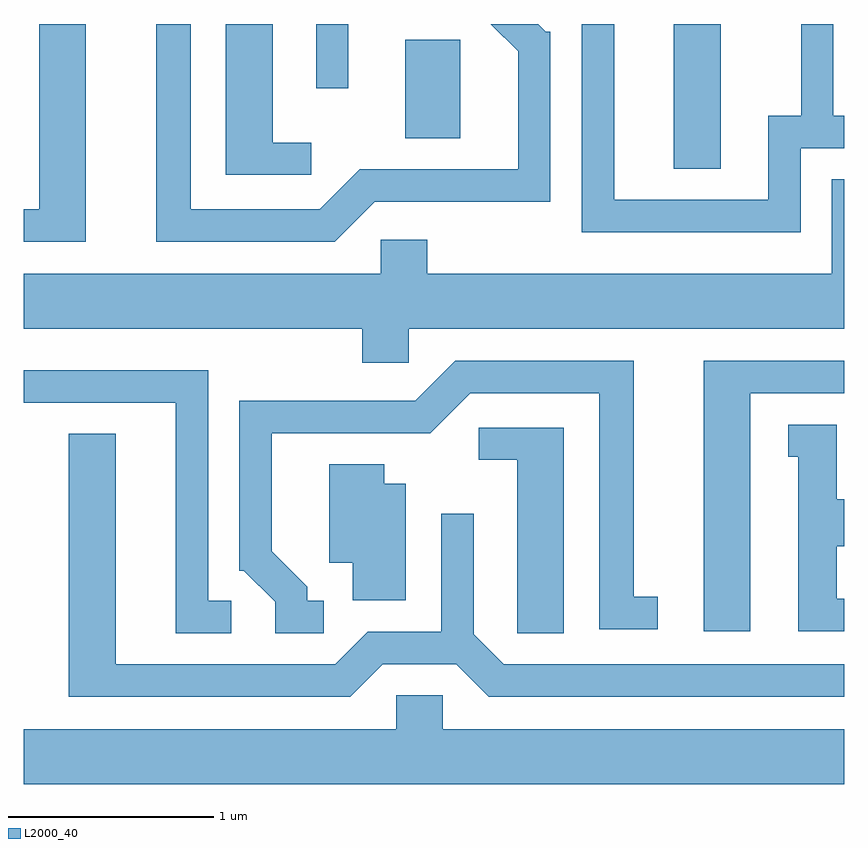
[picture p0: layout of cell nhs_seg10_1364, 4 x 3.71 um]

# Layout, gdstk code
import gdstk
lib = gdstk.Library(unit=1e-6, precision=1e-09)
def R(c, l, rs):  # rectangles x0, y0, x1, y1
    for r in rs: c.add(gdstk.rectangle(r[:2], r[2:], *l))
def P(c, l, *ps):  # polygons
    for p in ps: c.add(gdstk.Polygon(p, *l))
L2000_40 = (2000, 40)

nhs_seg10_1364 = lib.new_cell('nhs_seg10_1364')
R(nhs_seg10_1364, L2000_40, [(228.781,2105.816,229.009,2106.522), (227.471,2105.966,227.739,2106.444), (227.036,2106.208,227.194,2106.522)])
P(nhs_seg10_1364, L2000_40, [(225.914,2106.522),(225.686,2106.522),(225.686,2105.619),(225.611,2105.619),(225.611,2105.461),(225.914,2105.461)],
  [(229.399,2105.916),(229.611,2105.916),(229.611,2106.074),(229.559,2106.074),(229.559,2106.522),(229.401,2106.522),(229.401,2106.074),(229.241,2106.074),(229.241,2105.664),(228.489,2105.664),(228.489,2106.522),(228.331,2106.522),(228.331,2105.506),(229.399,2105.506)],
  [(227.322,2105.656),(228.179,2105.656),(228.179,2106.484),(228.157,2106.484),(228.119,2106.522),(227.888,2106.522),(228.021,2106.389),(228.021,2105.814),(227.249,2105.814),(227.054,2105.619),(226.424,2105.619),(226.424,2106.522),(226.256,2106.522),(226.256,2105.461),(227.127,2105.461)],
  [(227.013,2105.944),(226.824,2105.944),(226.824,2106.522),(226.596,2106.522),(226.596,2105.786),(227.013,2105.786)],
  [(227.489,2105.036),(229.611,2105.036),(229.611,2105.764),(229.551,2105.764),(229.551,2105.304),(227.579,2105.304),(227.579,2105.469),(227.351,2105.469),(227.351,2105.304),(225.611,2105.304),(225.611,2105.036),(227.261,2105.036),(227.261,2104.871),(227.489,2104.871)],
  [(227.073,2103.709),(226.994,2103.709),(226.994,2103.777),(226.819,2103.952),(226.819,2104.526),(227.592,2104.526),(227.787,2104.721),(228.416,2104.721),(228.416,2103.571),(228.703,2103.571),(228.703,2103.729),(228.584,2103.729),(228.584,2104.879),(227.714,2104.879),(227.519,2104.684),(226.661,2104.684),(226.661,2103.856),(226.684,2103.856),(226.836,2103.704),(226.836,2103.551),(227.073,2103.551)],
  [(229.154,2104.721),(229.611,2104.721),(229.611,2104.879),(228.926,2104.879),(228.926,2103.561),(229.154,2103.561)],
  [(226.623,2103.709),(226.509,2103.709),(226.509,2104.834),(225.611,2104.834),(225.611,2104.676),(226.351,2104.676),(226.351,2103.551),(226.623,2103.551)],
  [(229.611,2103.719),(229.574,2103.719),(229.574,2103.976),(229.611,2103.976),(229.611,2104.204),(229.574,2104.204),(229.574,2104.569),(229.338,2104.569),(229.338,2104.411),(229.386,2104.411),(229.386,2103.561),(229.611,2103.561)],
  [(228.244,2104.554),(227.828,2104.554),(227.828,2104.396),(228.016,2104.396),(228.016,2103.551),(228.244,2103.551)],
  [(227.362,2103.401),(227.719,2103.401),(227.879,2103.241),(229.611,2103.241),(229.611,2103.399),(227.952,2103.399),(227.804,2103.547),(227.804,2104.133),(227.646,2104.133),(227.646,2103.559),(227.289,2103.559),(227.129,2103.399),(226.059,2103.399),(226.059,2104.524),(225.831,2104.524),(225.831,2103.241),(227.202,2103.241)],
  [(227.474,2104.279),(227.369,2104.279),(227.369,2104.374),(227.101,2104.374),(227.101,2103.896),(227.216,2103.896),(227.216,2103.711),(227.474,2103.711)],
  [(229.611,2103.084),(227.654,2103.084),(227.654,2103.249),(227.426,2103.249),(227.426,2103.084),(225.611,2103.084),(225.611,2102.816),(229.611,2102.816)])

lib.write_gds('nhs_seg10_1364.gds')
